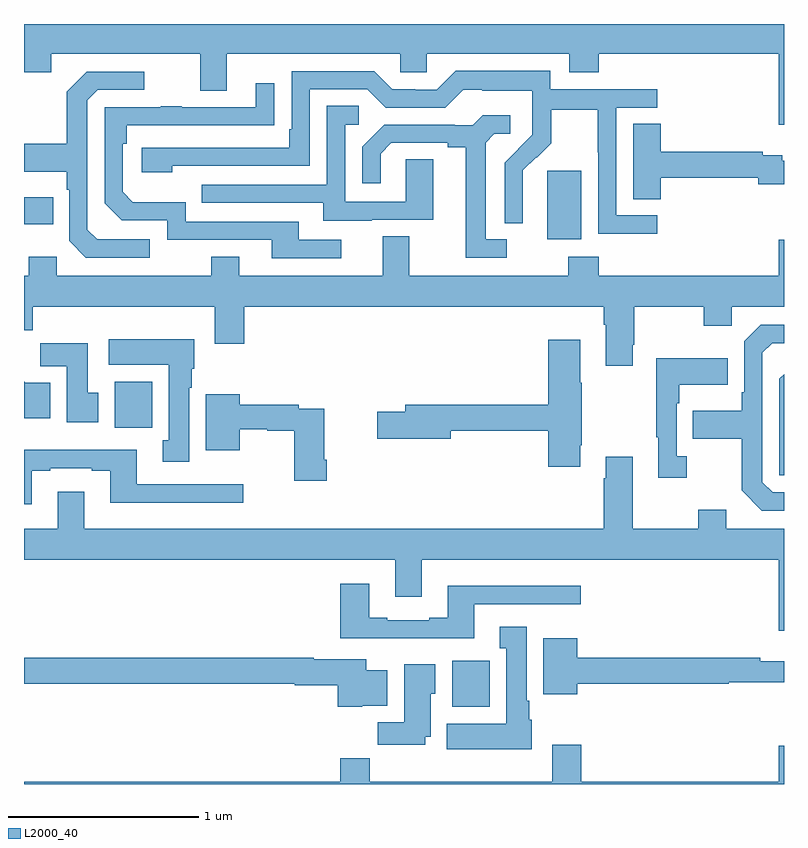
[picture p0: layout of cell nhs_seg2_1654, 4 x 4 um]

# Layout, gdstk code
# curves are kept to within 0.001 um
import gdstk
lib = gdstk.Library(unit=1e-6, precision=1e-09)
def R(c, l, rs):  # rectangles x0, y0, x1, y1
    for r in rs: c.add(gdstk.rectangle(r[:2], r[2:], *l))
def P(c, l, *ps):  # polygons
    for p in ps: c.add(gdstk.Polygon(p, *l))
L2000_40 = (2000, 40)

nhs_seg2_1654 = lib.new_cell('nhs_seg2_1654')
R(nhs_seg2_1654, L2000_40, [(199.253,636.206,199.45,636.448), (197.477,637.676,197.674,637.918), (199.754,638.666,199.933,639.027), (197,638.747,197.153,638.887)])
P(nhs_seg2_1654, L2000_40, [(201,639.8),(197,639.8),(197,639.545),(197.143,639.545),(197.143,639.644),(197.927,639.644),(197.927,639.45),(198.067,639.45),(198.067,639.644),(198.981,639.644),(198.981,639.546),(199.119,639.546),(199.119,639.644),(199.871,639.644),(199.871,639.545),(200.024,639.545),(200.024,639.644),(200.972,639.644),(200.972,639.27),(201,639.27)],
  [(200.332,638.793),(200.118,638.793),(200.118,639.36),(200.332,639.36),(200.332,639.456),(199.77,639.456),(199.77,639.553),(199.273,639.553),(199.173,639.453),(199.058,639.453),(199.058,639.456),(198.939,639.456),(198.843,639.552),(198.408,639.552),(198.408,639.247),(198.395,639.247),(198.395,639.15),(197.619,639.15),(197.619,639.02),(197.78,639.02),(197.78,639.054),(198.504,639.054),(198.504,639.456),(198.807,639.456),(198.903,639.36),(199.218,639.36),(199.311,639.453),(199.411,639.453),(199.411,639.449),(199.674,639.449),(199.674,639.315),(199.676,639.315),(199.676,639.218),(199.53,639.07),(199.53,638.752),(199.626,638.752),(199.625,639.029),(199.695,639.099),(199.698,639.096),(199.775,639.173),(199.775,639.348),(200.02,639.348),(200.02,639.124),(200.022,639.124),(200.022,638.695),(200.332,638.695)],
  [(197.662,638.667),(197.385,638.667),(197.334,638.718),(197.334,639.399),(197.388,639.453),(197.632,639.453),(197.632,639.549),(197.331,639.549),(197.226,639.443),(197.226,639.171),(197,639.171),(197,639.023),(197.226,639.023),(197.226,638.927),(197.238,638.927),(197.238,638.658),(197.325,638.571),(197.662,638.571)],
  [(198.67,638.664),(198.445,638.664),(198.445,638.76),(197.85,638.76),(197.85,638.863),(197.573,638.863),(197.52,638.916),(197.52,639.17),(197.54,639.17),(197.54,639.267),(198.317,639.268),(198.317,639.487),(198.221,639.487),(198.221,639.363),(197.831,639.363),(197.831,639.368),(197.719,639.368),(197.719,639.363),(197.424,639.363),(197.424,638.856),(197.514,638.766),(197.754,638.766),(197.754,638.664),(198.305,638.664),(198.305,638.568),(198.67,638.568)],
  [(198.829,638.769),(199.153,638.769),(199.153,639.089),(199.008,639.089),(199.008,638.865),(198.69,638.865),(198.69,639.27),(198.763,639.27),(198.763,639.371),(198.594,639.371),(198.594,638.955),(197.935,638.955),(197.935,638.859),(198.575,638.859),(198.575,638.765),(198.829,638.765)],
  [(199.54,638.667),(199.429,638.667),(199.429,639.175),(199.476,639.222),(199.558,639.222),(199.558,639.319),(199.414,639.319),(199.362,639.267),(199.268,639.267),(199.268,639.27),(198.896,639.27),(198.78,639.154),(198.78,638.961),(198.877,638.961),(198.877,639.117),(198.934,639.174),(199.229,639.174),(199.229,639.152),(199.325,639.152),(199.325,638.571),(199.54,638.571)],
  [(200.351,638.992),(200.864,638.992),(200.864,638.957),(201,638.957),(201,639.079),(200.992,639.079),(200.992,639.108),(200.888,639.108),(200.888,639.128),(200.351,639.128),(200.351,639.275),(200.207,639.275),(200.207,638.878),(200.351,638.878)],
  [(200.203,638.113),(200.211,638.113),(200.211,638.312),(200.578,638.312),(200.578,638.213),(200.724,638.213),(200.724,638.312),(201,638.312),(201,638.665),(200.972,638.665),(200.972,638.476),(200.024,638.476),(200.024,638.575),(199.864,638.575),(199.864,638.476),(199.027,638.476),(199.027,638.684),(198.887,638.684),(198.887,638.476),(198.133,638.476),(198.133,638.575),(197.986,638.575),(197.986,638.476),(197.172,638.476),(197.172,638.575),(197.026,638.575),(197.026,638.476),(197,638.476),(197,638.188),(197.045,638.188),(197.045,638.312),(198.005,638.312),(198.005,638.118),(198.158,638.118),(198.158,638.312),(200.051,638.312),(200.051,638.216),(200.063,638.216),(200.063,638.001),(200.203,638.001)],
  [(201,637.335),(200.94,637.335),(200.886,637.389),(200.886,638.07),(200.937,638.121),(201,638.121),(201,638.217),(200.877,638.217),(200.79,638.13),(200.79,637.861),(200.778,637.861),(200.778,637.765),(200.521,637.765),(200.521,637.618),(200.778,637.618),(200.778,637.345),(200.883,637.239),(201,637.239)],
  [(197.869,637.886),(197.884,637.886),(197.884,637.986),(197.896,637.986),(197.896,638.14),(197.445,638.14),(197.445,638.006),(197.762,638.006),(197.762,637.61),(197.729,637.61),(197.729,637.497),(197.869,637.497)],
  [(199.927,637.582),(199.935,637.582),(199.935,637.913),(199.927,637.913),(199.927,638.137),(199.76,638.137),(199.76,637.796),(199.007,637.796),(199.007,637.76),(198.858,637.76),(198.858,637.618),(199.246,637.618),(199.246,637.66),(199.76,637.66),(199.76,637.47),(199.927,637.47)],
  [(197.392,637.86),(197.335,637.86),(197.335,638.119),(197.086,638.119),(197.086,638),(197.225,638),(197.225,637.704),(197.392,637.704)],
  [(200.488,637.526),(200.436,637.526),(200.436,637.805),(200.449,637.805),(200.449,637.901),(200.705,637.901),(200.705,638.041),(200.328,638.041),(200.328,637.625),(200.339,637.625),(200.339,637.413),(200.488,637.413)],
  [(201,637.956),(200.976,637.932),(200.976,637.425),(201,637.425)],
  [(197.137,637.912),(197.004,637.912),(197.004,637.918),(197,637.918),(197,637.724),(197.137,637.724)],
  [(198.593,637.507),(198.58,637.507),(198.58,637.776),(198.446,637.776),(198.446,637.796),(198.136,637.796),(198.136,637.852),(197.957,637.852),(197.957,637.556),(198.136,637.556),(198.136,637.668),(198.279,637.668),(198.279,637.66),(198.422,637.66),(198.422,637.395),(198.593,637.395)],
  [(197.041,637.449),(197.137,637.449),(197.137,637.461),(197.357,637.461),(197.357,637.449),(197.453,637.449),(197.453,637.28),(198.154,637.28),(198.154,637.377),(197.593,637.377),(197.593,637.558),(197,637.558),(197,637.272),(197.041,637.272)],
  [(201,637.144),(200.695,637.144),(200.695,637.243),(200.548,637.243),(200.548,637.144),(200.203,637.144),(200.203,637.522),(200.063,637.522),(200.063,637.409),(200.051,637.409),(200.051,637.144),(197.317,637.144),(197.317,637.339),(197.177,637.339),(197.177,637.144),(197,637.144),(197,636.98),(198.953,636.98),(198.953,636.786),(199.093,636.786),(199.093,636.98),(200.972,636.98),(200.972,636.606),(201,636.606)],
  [(199.369,636.747),(199.93,636.747),(199.93,636.844),(199.229,636.844),(199.229,636.676),(199.133,636.676),(199.133,636.663),(198.913,636.663),(198.913,636.676),(198.817,636.676),(198.817,636.853),(198.665,636.853),(198.665,636.566),(199.369,636.566)],
  [(199.672,636.138),(199.66,636.138),(199.66,636.238),(199.645,636.238),(199.645,636.628),(199.505,636.628),(199.505,636.515),(199.538,636.515),(199.538,636.118),(199.226,636.118),(199.226,635.984),(199.672,635.984)],
  [(199.912,636.328),(200.708,636.328),(200.708,636.336),(201,636.336),(201,636.445),(200.876,636.445),(200.876,636.464),(199.912,636.464),(199.912,636.568),(199.733,636.568),(199.733,636.272),(199.912,636.272)],
  [(198.78,636.212),(198.913,636.212),(198.913,636.4),(198.802,636.4),(198.802,636.457),(198.526,636.457),(198.526,636.464),(197,636.464),(197,636.328),(198.426,636.328),(198.426,636.32),(198.65,636.32),(198.65,636.206),(198.78,636.206)],
  [(199.111,636.05),(199.141,636.05),(199.141,636.276),(199.165,636.276),(199.165,636.43),(199.001,636.43),(199.001,636.124),(198.862,636.124),(198.862,636.006),(199.111,636.006)],
  [(201,636.001),(200.972,636.001),(200.972,635.812),(199.934,635.812),(199.934,636.007),(199.781,636.007),(199.781,635.812),(198.821,635.812),(198.821,635.936),(198.665,635.936),(198.665,635.812),(197,635.812),(197,635.8),(201,635.8)])

lib.write_gds('nhs_seg2_1654.gds')
